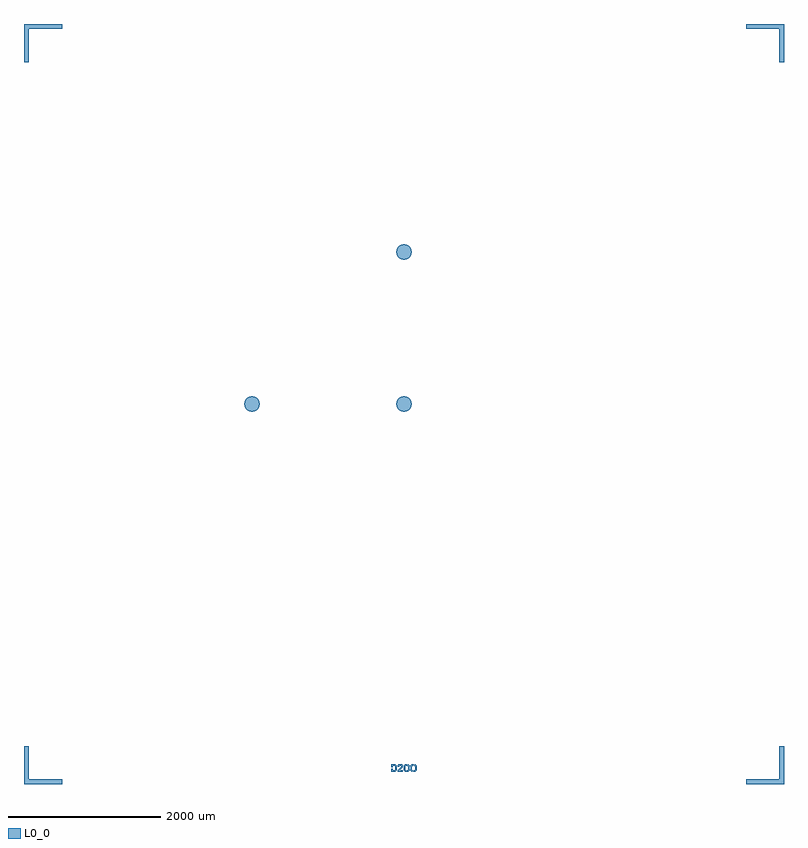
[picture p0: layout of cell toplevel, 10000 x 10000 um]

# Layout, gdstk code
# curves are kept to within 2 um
import gdstk
lib = gdstk.Library(unit=1e-6, precision=1e-09)
def P(c, l, *ps):  # polygons
    for p in ps: c.add(gdstk.Polygon(p, *l))
L0_0 = (0, 0)

circle = lib.new_cell('circle')
P(circle, L0_0, [(100,0),(92.388,38.268),(70.711,70.711),(38.268,92.388),(0,100),(-38.268,92.388),(-70.711,70.711),(-92.388,38.268),(-100,0),(-92.388,-38.268),(-70.711,-70.711),(-38.268,-92.388),(0,-100),(38.268,-92.388),(70.711,-70.711),(92.388,-38.268)])

circle001 = lib.new_cell('circle001')
P(circle001, L0_0, [(-1900,0),(-1907.612,38.268),(-1929.289,70.711),(-1961.732,92.388),(-2000,100),(-2038.268,92.388),(-2070.711,70.711),(-2092.388,38.268),(-2100,0),(-2092.388,-38.268),(-2070.711,-70.711),(-2038.268,-92.388),(-2000,-100),(-1961.732,-92.388),(-1929.289,-70.711),(-1907.612,-38.268)])

circle002 = lib.new_cell('circle002')
P(circle002, L0_0, [(100,2000),(92.388,2038.268),(70.711,2070.711),(38.268,2092.388),(0,2100),(-38.268,2092.388),(-70.711,2070.711),(-92.388,2038.268),(-100,2000),(-92.388,1961.732),(-70.711,1929.289),(-38.268,1907.612),(0,1900),(38.268,1907.612),(70.711,1929.289),(92.388,1961.732)])

text = lib.new_cell('text')
P(text, L0_0, [(10,0),(10,40),(30,40),(30,20),(50,20),(60,30),(60,70),(50,80),(30,80),(30,60),(10,60),(10,100),(60,100),(80,80),(80,20),(60,0)],
  [(90,90),(100,100),(150,100),(160,90),(160,60),(120,20),(160,20),(160,0),(90,0),(90,20),(140,70),(140,80),(110,80),(110,70),(90,70)],
  [(200,80),(190,70),(190,30),(200,20),(195,0),(190,0),(170,20),(170,80),(190,100),(213,100),(208,80),(200,80)],
  [(220,20),(230,30),(230,70),(220,80),(225,100),(230,100),(250,80),(250,20),(230,0),(207,0),(212,20),(220,20)],
  [(290,80),(280,70),(280,30),(290,20),(285,0),(280,0),(260,20),(260,80),(280,100),(303,100),(298,80),(290,80)],
  [(310,20),(320,30),(320,70),(310,80),(315,100),(320,100),(340,80),(340,20),(320,0),(297,0),(302,20),(310,20)])

die = lib.new_cell('die')
P(die, L0_0, [(5000,5000),(5000,4500),(4940,4500),(4940,4940),(4500,4940),(4500,5000)],
  [(-5000,5000),(-5000,4500),(-4940,4500),(-4940,4940),(-4500,4940),(-4500,5000)],
  [(5000,-5000),(5000,-4500),(4940,-4500),(4940,-4940),(4500,-4940),(4500,-5000)],
  [(-5000,-5000),(-5000,-4500),(-4940,-4500),(-4940,-4940),(-4500,-4940),(-4500,-5000)])
die.add(gdstk.Reference(text, (-175,-4840)))

toplevel = lib.new_cell('toplevel')
toplevel.add(gdstk.Reference(circle, (0,0)))
toplevel.add(gdstk.Reference(circle001, (0,0)))
toplevel.add(gdstk.Reference(circle002, (0,0)))
toplevel.add(gdstk.Reference(die, (0,0)))

lib.write_gds('toplevel.gds')
